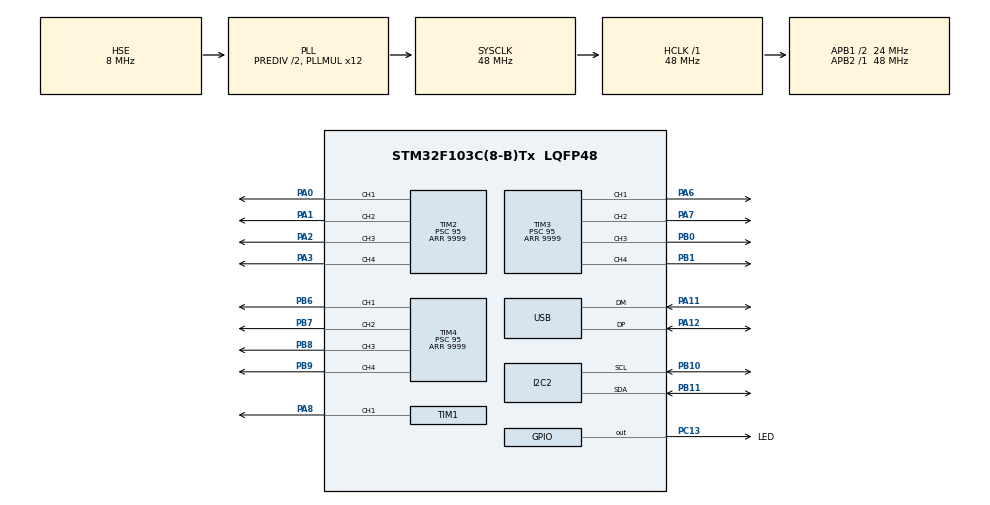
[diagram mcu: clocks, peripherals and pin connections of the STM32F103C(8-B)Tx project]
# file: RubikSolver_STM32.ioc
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Mcu.Family=STM32F1
Mcu.Name=STM32F103C(8-B)Tx
Mcu.Package=LQFP48
NVIC.PriorityGroup=NVIC_PRIORITYGROUP_4
NVIC.TIM2_IRQn=true\:0\:0\:false\:false\:true\:true\:true\:true
NVIC.TIM3_IRQn=true\:0\:0\:false\:false\:true\:true\:true\:true
NVIC.TIM4_IRQn=true\:0\:0\:false\:false\:true\:true\:true\:true
NVIC.USB_HP_CAN1_TX_IRQn=true\:0\:0\:false\:false\:true\:true\:true\:true
NVIC.USB_LP_CAN1_RX0_IRQn=true\:0\:0\:false\:false\:true\:true\:true\:true
PA0-WKUP.Signal=S_TIM2_CH1_ETR
PA1.Signal=S_TIM2_CH2
PA11.Mode=Device
PA11.Signal=USB_DM
PA12.Mode=Device
PA12.Signal=USB_DP
PA13.Mode=Serial_Wire
PA13.Signal=SYS_JTMS-SWDIO
PA14.Mode=Serial_Wire
PA14.Signal=SYS_JTCK-SWCLK
PA2.Signal=S_TIM2_CH3
PA3.Signal=S_TIM2_CH4
PA6.Signal=S_TIM3_CH1
PA7.Signal=S_TIM3_CH2
PA8.Signal=S_TIM1_CH1
PB0.Signal=S_TIM3_CH3
PB1.Signal=S_TIM3_CH4
PB10.Mode=I2C
PB10.Signal=I2C2_SCL
PB11.Mode=I2C
PB11.Signal=I2C2_SDA
PB6.Signal=S_TIM4_CH1
PB7.Signal=S_TIM4_CH2
PB8.Signal=S_TIM4_CH3
PB9.Signal=S_TIM4_CH4
PC13-TAMPER-RTC.GPIO_Label=LED
PC13-TAMPER-RTC.Signal=GPIO_Output
PD0-OSC_IN.Mode=HSE-External-Oscillator
PD0-OSC_IN.Signal=RCC_OSC_IN
PD1-OSC_OUT.Mode=HSE-External-Oscillator
PD1-OSC_OUT.Signal=RCC_OSC_OUT
ProjectManager.HeapSize=0x200
ProjectManager.StackSize=0x400
ProjectManager.TargetToolchain=STM32CubeIDE
RCC.AHBFreq_Value=48000000
RCC.APB1CLKDivider=RCC_HCLK_DIV2
RCC.APB1Freq_Value=24000000
RCC.APB1TimFreq_Value=48000000
RCC.APB2Freq_Value=48000000
RCC.APB2TimFreq_Value=48000000
RCC.HCLKFreq_Value=48000000
RCC.HSEDivPLL=RCC_HSE_PREDIV_DIV2
RCC.PLLMUL=RCC_PLL_MUL12
RCC.PLLSourceVirtual=RCC_PLLSOURCE_HSE
RCC.SYSCLKFreq_VALUE=48000000
RCC.SYSCLKSource=RCC_SYSCLKSOURCE_PLLCLK
RCC.USBFreq_Value=48000000
SH.S_TIM1_CH1.0=TIM1_CH1,PWM Generation1 CH1
SH.S_TIM2_CH1_ETR.0=TIM2_CH1,PWM Generation1 CH1
SH.S_TIM2_CH2.0=TIM2_CH2,PWM Generation2 CH2
SH.S_TIM2_CH3.0=TIM2_CH3,PWM Generation3 CH3
SH.S_TIM2_CH4.0=TIM2_CH4,PWM Generation4 CH4
SH.S_TIM3_CH1.0=TIM3_CH1,PWM Generation1 CH1
SH.S_TIM3_CH2.0=TIM3_CH2,PWM Generation2 CH2
SH.S_TIM3_CH3.0=TIM3_CH3,PWM Generation3 CH3
SH.S_TIM3_CH4.0=TIM3_CH4,PWM Generation4 CH4
SH.S_TIM4_CH1.0=TIM4_CH1,PWM Generation1 CH1
SH.S_TIM4_CH2.0=TIM4_CH2,PWM Generation2 CH2
SH.S_TIM4_CH3.0=TIM4_CH3,PWM Generation3 CH3
SH.S_TIM4_CH4.0=TIM4_CH4,PWM Generation4 CH4
TIM1.Channel-PWM\ Generation1\ CH1=TIM_CHANNEL_1
TIM1.Period=1000
TIM2.Channel-PWM\ Generation1\ CH1=TIM_CHANNEL_1
TIM2.Channel-PWM\ Generation2\ CH2=TIM_CHANNEL_2
TIM2.Channel-PWM\ Generation3\ CH3=TIM_CHANNEL_3
TIM2.Channel-PWM\ Generation4\ CH4=TIM_CHANNEL_4
TIM2.Period=9999
TIM2.Prescaler=95
TIM3.Channel-PWM\ Generation1\ CH1=TIM_CHANNEL_1
TIM3.Channel-PWM\ Generation2\ CH2=TIM_CHANNEL_2
TIM3.Channel-PWM\ Generation3\ CH3=TIM_CHANNEL_3
TIM3.Channel-PWM\ Generation4\ CH4=TIM_CHANNEL_4
TIM3.Period=9999
TIM3.Prescaler=95
TIM4.Channel-PWM\ Generation1\ CH1=TIM_CHANNEL_1
TIM4.Channel-PWM\ Generation2\ CH2=TIM_CHANNEL_2
TIM4.Channel-PWM\ Generation3\ CH3=TIM_CHANNEL_3
TIM4.Channel-PWM\ Generation4\ CH4=TIM_CHANNEL_4
TIM4.Period=9999
TIM4.Prescaler=95
USB_DEVICE.APP_TX_DATA_SIZE=1024
USB_DEVICE.CLASS_NAME_FS=CDC
USB_DEVICE.VirtualMode=Cdc
USB_DEVICE.VirtualModeFS=Cdc_FS
VP_TIM1_VS_ClockSourceINT.Mode=Internal
VP_TIM2_VS_ClockSourceINT.Mode=Internal
VP_TIM3_VS_ClockSourceINT.Mode=Internal
VP_TIM4_VS_ClockSourceINT.Mode=Internal
VP_USB_DEVICE_VS_USB_DEVICE_CDC_FS.Mode=CDC_FS
board=custom

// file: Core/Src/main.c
/* USER CODE BEGIN Header */
/**
  ******************************************************************************
  * @file           : main.c
  * @brief          : Main program body
  ******************************************************************************
  * @attention
  *
  * Copyright (c) 2023 STMicroelectronics.
  * All rights reserved.
  *
  * This software is licensed under terms that can be found in the LICENSE file
  * in the root directory of this software component.
  * If no LICENSE file comes with this software, it is provided AS-IS.
  *
  ******************************************************************************
  */
/* USER CODE END Header */
#include "main.h"
#include "usb_device.h"

/* USER CODE BEGIN Includes */
#include "global.h"
#include "usbd_cdc_if.h"
#include "color_reading.h"
#include "helper.h"
#include "servo.h"
#include "solver.h"

/* USER CODE END Includes */

/* USER CODE BEGIN PTD */
enum SystemState {
	IDLE,
	SETUP,
	SOLVE
} systemState = IDLE;

enum SystemMode {
	AUTO,
	MANUAL
} systemMode = MANUAL;
/* USER CODE END PTD */

I2C_HandleTypeDef hi2c2;

TIM_HandleTypeDef htim1;
TIM_HandleTypeDef htim2;
TIM_HandleTypeDef htim3;
TIM_HandleTypeDef htim4;

/* USER CODE BEGIN PV */
uint8_t usb_buf[200];
uint8_t usb_len = 0;
uint8_t usb_received = 0;

/* USER CODE END PV */

void SystemClock_Config(void);
static void MX_GPIO_Init(void);
static void MX_TIM2_Init(void);
static void MX_I2C2_Init(void);
static void MX_TIM3_Init(void);
static void MX_TIM4_Init(void);
static void MX_TIM1_Init(void);
/* USER CODE BEGIN PFP */
void pwmsInit();
/* USER CODE END PFP */

int main(void)
{

  /* MCU Configuration--------------------------------------------------------*/

  /* Reset of all peripherals, Initializes the Flash interface and the Systick. */
  HAL_Init();

  /* Configure the system clock */
  SystemClock_Config();

  /* Initialize all configured peripherals */
  MX_GPIO_Init();
  MX_TIM2_Init();
  MX_USB_DEVICE_Init();
  MX_I2C2_Init();
  MX_TIM3_Init();
  MX_TIM4_Init();
  MX_TIM1_Init();

  /* Infinite loop */
  /* USER CODE BEGIN WHILE */
  pwmsInit();
  robotInit();
  colorSensorInit();
  robotBoot();

  // Waiting user for select mode
  while (usb_received == 0);
  usb_received = 0;
  if (usb_buf[0] == 0)
  {
	  systemMode = MANUAL;
  }else
  {
	  systemMode = AUTO;
  }

  while (1)
  {
	  if (systemMode == MANUAL)
	  {
		  switch (systemState)
		  {
		  case IDLE:
			  if (usb_received == 1)
			  {
				  if (dataEqual(usb_buf, 11, "color_setup"))
				  {
					  systemState = SETUP;
					  usb_received = 0;
				  }else if (dataEqual(usb_buf, 11, "rubik_solve"))
				  {
					  systemState = SOLVE;
					  usb_received = 0;
				  }
			  }
			  break;
		  case SETUP:
			  manualColorSetup();
			  systemState = IDLE;
			  break;
		  case SOLVE:
			  manualRubikSolve();
			  systemState = IDLE;
			  break;
		  }
	  }else
	  {
		  switch (systemState)
		  {
		  case IDLE:
			  if (usb_received == 1)
			  {
				  if (dataEqual(usb_buf, 11, "color_setup"))
				  {
					  systemState = SETUP;
					  usb_received = 0;
				  }else if (dataEqual(usb_buf, 11, "rubik_solve"))
				  {
					  systemState = SOLVE;
					  usb_received = 0;
				  }
			  }
			  break;
		  case SETUP:
			  autoColorSetup();
			  systemState = IDLE;
			  break;
		  case SOLVE:
			  autoRubikSolve();
			  systemState = IDLE;
			  break;
		  }
	  }
    /* USER CODE END WHILE */

  }
}

void SystemClock_Config(void)
{
  RCC_OscInitTypeDef RCC_OscInitStruct = {0};
  RCC_ClkInitTypeDef RCC_ClkInitStruct = {0};
  RCC_PeriphCLKInitTypeDef PeriphClkInit = {0};

  /** Initializes the RCC Oscillators according to the specified parameters
  * in the RCC_OscInitTypeDef structure.
  */
  RCC_OscInitStruct.OscillatorType = RCC_OSCILLATORTYPE_HSE;
  RCC_OscInitStruct.HSEState = RCC_HSE_ON;
  RCC_OscInitStruct.HSEPredivValue = RCC_HSE_PREDIV_DIV2;
  RCC_OscInitStruct.HSIState = RCC_HSI_ON;
  RCC_OscInitStruct.PLL.PLLState = RCC_PLL_ON;
  RCC_OscInitStruct.PLL.PLLSource = RCC_PLLSOURCE_HSE;
  RCC_OscInitStruct.PLL.PLLMUL = RCC_PLL_MUL12;
  if (HAL_RCC_OscConfig(&RCC_OscInitStruct) != HAL_OK)
  {
    Error_Handler();
  }

  /** Initializes the CPU, AHB and APB buses clocks
  */
  RCC_ClkInitStruct.ClockType = RCC_CLOCKTYPE_HCLK|RCC_CLOCKTYPE_SYSCLK
                              |RCC_CLOCKTYPE_PCLK1|RCC_CLOCKTYPE_PCLK2;
  RCC_ClkInitStruct.SYSCLKSource = RCC_SYSCLKSOURCE_PLLCLK;
  RCC_ClkInitStruct.AHBCLKDivider = RCC_SYSCLK_DIV1;
  RCC_ClkInitStruct.APB1CLKDivider = RCC_HCLK_DIV2;
  RCC_ClkInitStruct.APB2CLKDivider = RCC_HCLK_DIV1;

  if (HAL_RCC_ClockConfig(&RCC_ClkInitStruct, FLASH_LATENCY_1) != HAL_OK)
  {
    Error_Handler();
  }
  PeriphClkInit.PeriphClockSelection = RCC_PERIPHCLK_USB;
  PeriphClkInit.UsbClockSelection = RCC_USBCLKSOURCE_PLL;
  if (HAL_RCCEx_PeriphCLKConfig(&PeriphClkInit) != HAL_OK)
  {
    Error_Handler();
  }
}

static void MX_I2C2_Init(void)
{

  hi2c2.Instance = I2C2;
  hi2c2.Init.ClockSpeed = 100000;
  hi2c2.Init.DutyCycle = I2C_DUTYCYCLE_2;
  hi2c2.Init.OwnAddress1 = 0;
  hi2c2.Init.AddressingMode = I2C_ADDRESSINGMODE_7BIT;
  hi2c2.Init.DualAddressMode = I2C_DUALADDRESS_DISABLE;
  hi2c2.Init.OwnAddress2 = 0;
  hi2c2.Init.GeneralCallMode = I2C_GENERALCALL_DISABLE;
  hi2c2.Init.NoStretchMode = I2C_NOSTRETCH_DISABLE;
  if (HAL_I2C_Init(&hi2c2) != HAL_OK)
  {
    Error_Handler();
  }

}

static void MX_TIM1_Init(void)
{

  TIM_ClockConfigTypeDef sClockSourceConfig = {0};
  TIM_MasterConfigTypeDef sMasterConfig = {0};
  TIM_OC_InitTypeDef sConfigOC = {0};
  TIM_BreakDeadTimeConfigTypeDef sBreakDeadTimeConfig = {0};

  htim1.Instance = TIM1;
  htim1.Init.Prescaler = 0;
  htim1.Init.CounterMode = TIM_COUNTERMODE_UP;
  htim1.Init.Period = 1000;
  htim1.Init.ClockDivision = TIM_CLOCKDIVISION_DIV1;
  htim1.Init.RepetitionCounter = 0;
  htim1.Init.AutoReloadPreload = TIM_AUTORELOAD_PRELOAD_DISABLE;
  if (HAL_TIM_Base_Init(&htim1) != HAL_OK)
  {
    Error_Handler();
  }
  sClockSourceConfig.ClockSource = TIM_CLOCKSOURCE_INTERNAL;
  if (HAL_TIM_ConfigClockSource(&htim1, &sClockSourceConfig) != HAL_OK)
  {
    Error_Handler();
  }
  if (HAL_TIM_PWM_Init(&htim1) != HAL_OK)
  {
    Error_Handler();
  }
  sMasterConfig.MasterOutputTrigger = TIM_TRGO_RESET;
  sMasterConfig.MasterSlaveMode = TIM_MASTERSLAVEMODE_DISABLE;
  if (HAL_TIMEx_MasterConfigSynchronization(&htim1, &sMasterConfig) != HAL_OK)
  {
    Error_Handler();
  }
  sConfigOC.OCMode = TIM_OCMODE_PWM1;
  sConfigOC.Pulse = 0;
  sConfigOC.OCPolarity = TIM_OCPOLARITY_HIGH;
  sConfigOC.OCNPolarity = TIM_OCNPOLARITY_HIGH;
  sConfigOC.OCFastMode = TIM_OCFAST_DISABLE;
  sConfigOC.OCIdleState = TIM_OCIDLESTATE_RESET;
  sConfigOC.OCNIdleState = TIM_OCNIDLESTATE_RESET;
  if (HAL_TIM_PWM_ConfigChannel(&htim1, &sConfigOC, TIM_CHANNEL_1) != HAL_OK)
  {
    Error_Handler();
  }
  sBreakDeadTimeConfig.OffStateRunMode = TIM_OSSR_DISABLE;
  sBreakDeadTimeConfig.OffStateIDLEMode = TIM_OSSI_DISABLE;
  sBreakDeadTimeConfig.LockLevel = TIM_LOCKLEVEL_OFF;
  sBreakDeadTimeConfig.DeadTime = 0;
  sBreakDeadTimeConfig.BreakState = TIM_BREAK_DISABLE;
  sBreakDeadTimeConfig.BreakPolarity = TIM_BREAKPOLARITY_HIGH;
  sBreakDeadTimeConfig.AutomaticOutput = TIM_AUTOMATICOUTPUT_DISABLE;
  if (HAL_TIMEx_ConfigBreakDeadTime(&htim1, &sBreakDeadTimeConfig) != HAL_OK)
  {
    Error_Handler();
  }
  HAL_TIM_MspPostInit(&htim1);

}

static void MX_TIM2_Init(void)
{

  TIM_ClockConfigTypeDef sClockSourceConfig = {0};
  TIM_MasterConfigTypeDef sMasterConfig = {0};
  TIM_OC_InitTypeDef sConfigOC = {0};

  htim2.Instance = TIM2;
  htim2.Init.Prescaler = 95;
  htim2.Init.CounterMode = TIM_COUNTERMODE_UP;
  htim2.Init.Period = 9999;
  htim2.Init.ClockDivision = TIM_CLOCKDIVISION_DIV1;
  htim2.Init.AutoReloadPreload = TIM_AUTORELOAD_PRELOAD_DISABLE;
  if (HAL_TIM_Base_Init(&htim2) != HAL_OK)
  {
    Error_Handler();
  }
  sClockSourceConfig.ClockSource = TIM_CLOCKSOURCE_INTERNAL;
  if (HAL_TIM_ConfigClockSource(&htim2, &sClockSourceConfig) != HAL_OK)
  {
    Error_Handler();
  }
  if (HAL_TIM_PWM_Init(&htim2) != HAL_OK)
  {
    Error_Handler();
  }
  sMasterConfig.MasterOutputTrigger = TIM_TRGO_RESET;
  sMasterConfig.MasterSlaveMode = TIM_MASTERSLAVEMODE_DISABLE;
  if (HAL_TIMEx_MasterConfigSynchronization(&htim2, &sMasterConfig) != HAL_OK)
  {
    Error_Handler();
  }
  sConfigOC.OCMode = TIM_OCMODE_PWM1;
  sConfigOC.Pulse = 0;
  sConfigOC.OCPolarity = TIM_OCPOLARITY_HIGH;
  sConfigOC.OCFastMode = TIM_OCFAST_DISABLE;
  if (HAL_TIM_PWM_ConfigChannel(&htim2, &sConfigOC, TIM_CHANNEL_1) != HAL_OK)
  {
    Error_Handler();
  }
  if (HAL_TIM_PWM_ConfigChannel(&htim2, &sConfigOC, TIM_CHANNEL_2) != HAL_OK)
  {
    Error_Handler();
  }
  if (HAL_TIM_PWM_ConfigChannel(&htim2, &sConfigOC, TIM_CHANNEL_3) != HAL_OK)
  {
    Error_Handler();
  }
  if (HAL_TIM_PWM_ConfigChannel(&htim2, &sConfigOC, TIM_CHANNEL_4) != HAL_OK)
  {
    Error_Handler();
  }
  HAL_TIM_MspPostInit(&htim2);

}

static void MX_TIM3_Init(void)
{

  TIM_ClockConfigTypeDef sClockSourceConfig = {0};
  TIM_MasterConfigTypeDef sMasterConfig = {0};
  TIM_OC_InitTypeDef sConfigOC = {0};

  htim3.Instance = TIM3;
  htim3.Init.Prescaler = 95;
  htim3.Init.CounterMode = TIM_COUNTERMODE_UP;
  htim3.Init.Period = 9999;
  htim3.Init.ClockDivision = TIM_CLOCKDIVISION_DIV1;
  htim3.Init.AutoReloadPreload = TIM_AUTORELOAD_PRELOAD_DISABLE;
  if (HAL_TIM_Base_Init(&htim3) != HAL_OK)
  {
    Error_Handler();
  }
  sClockSourceConfig.ClockSource = TIM_CLOCKSOURCE_INTERNAL;
  if (HAL_TIM_ConfigClockSource(&htim3, &sClockSourceConfig) != HAL_OK)
  {
    Error_Handler();
  }
  if (HAL_TIM_PWM_Init(&htim3) != HAL_OK)
  {
    Error_Handler();
  }
  sMasterConfig.MasterOutputTrigger = TIM_TRGO_RESET;
  sMasterConfig.MasterSlaveMode = TIM_MASTERSLAVEMODE_DISABLE;
  if (HAL_TIMEx_MasterConfigSynchronization(&htim3, &sMasterConfig) != HAL_OK)
  {
    Error_Handler();
  }
  sConfigOC.OCMode = TIM_OCMODE_PWM1;
  sConfigOC.Pulse = 0;
  sConfigOC.OCPolarity = TIM_OCPOLARITY_HIGH;
  sConfigOC.OCFastMode = TIM_OCFAST_DISABLE;
  if (HAL_TIM_PWM_ConfigChannel(&htim3, &sConfigOC, TIM_CHANNEL_1) != HAL_OK)
  {
    Error_Handler();
  }
  if (HAL_TIM_PWM_ConfigChannel(&htim3, &sConfigOC, TIM_CHANNEL_2) != HAL_OK)
  {
    Error_Handler();
  }
  if (HAL_TIM_PWM_ConfigChannel(&htim3, &sConfigOC, TIM_CHANNEL_3) != HAL_OK)
  {
    Error_Handler();
  }
  if (HAL_TIM_PWM_ConfigChannel(&htim3, &sConfigOC, TIM_CHANNEL_4) != HAL_OK)
  {
    Error_Handler();
  }
  HAL_TIM_MspPostInit(&htim3);

}

static void MX_TIM4_Init(void)
{

  TIM_ClockConfigTypeDef sClockSourceConfig = {0};
  TIM_MasterConfigTypeDef sMasterConfig = {0};
  TIM_OC_InitTypeDef sConfigOC = {0};

  htim4.Instance = TIM4;
  htim4.Init.Prescaler = 95;
  htim4.Init.CounterMode = TIM_COUNTERMODE_UP;
  htim4.Init.Period = 9999;
  htim4.Init.ClockDivision = TIM_CLOCKDIVISION_DIV1;
  htim4.Init.AutoReloadPreload = TIM_AUTORELOAD_PRELOAD_DISABLE;
  if (HAL_TIM_Base_Init(&htim4) != HAL_OK)
  {
    Error_Handler();
  }
  sClockSourceConfig.ClockSource = TIM_CLOCKSOURCE_INTERNAL;
  if (HAL_TIM_ConfigClockSource(&htim4, &sClockSourceConfig) != HAL_OK)
  {
    Error_Handler();
  }
  if (HAL_TIM_PWM_Init(&htim4) != HAL_OK)
  {
    Error_Handler();
  }
  sMasterConfig.MasterOutputTrigger = TIM_TRGO_RESET;
  sMasterConfig.MasterSlaveMode = TIM_MASTERSLAVEMODE_DISABLE;
  if (HAL_TIMEx_MasterConfigSynchronization(&htim4, &sMasterConfig) != HAL_OK)
  {
    Error_Handler();
  }
  sConfigOC.OCMode = TIM_OCMODE_PWM1;
  sConfigOC.Pulse = 0;
  sConfigOC.OCPolarity = TIM_OCPOLARITY_HIGH;
  sConfigOC.OCFastMode = TIM_OCFAST_DISABLE;
  if (HAL_TIM_PWM_ConfigChannel(&htim4, &sConfigOC, TIM_CHANNEL_1) != HAL_OK)
  {
    Error_Handler();
  }
  if (HAL_TIM_PWM_ConfigChannel(&htim4, &sConfigOC, TIM_CHANNEL_2) != HAL_OK)
  {
    Error_Handler();
  }
  if (HAL_TIM_PWM_ConfigChannel(&htim4, &sConfigOC, TIM_CHANNEL_3) != HAL_OK)
  {
    Error_Handler();
  }
  if (HAL_TIM_PWM_ConfigChannel(&htim4, &sConfigOC, TIM_CHANNEL_4) != HAL_OK)
  {
    Error_Handler();
  }
  HAL_TIM_MspPostInit(&htim4);

}

static void MX_GPIO_Init(void)
{
  GPIO_InitTypeDef GPIO_InitStruct = {0};

  /* GPIO Ports Clock Enable */
  __HAL_RCC_GPIOC_CLK_ENABLE();
  __HAL_RCC_GPIOD_CLK_ENABLE();
  __HAL_RCC_GPIOA_CLK_ENABLE();
  __HAL_RCC_GPIOB_CLK_ENABLE();

  /*Configure GPIO pin Output Level */
  HAL_GPIO_WritePin(LED_GPIO_Port, LED_Pin, GPIO_PIN_RESET);

  /*Configure GPIO pin : LED_Pin */
  GPIO_InitStruct.Pin = LED_Pin;
  GPIO_InitStruct.Mode = GPIO_MODE_OUTPUT_PP;
  GPIO_InitStruct.Pull = GPIO_NOPULL;
  GPIO_InitStruct.Speed = GPIO_SPEED_FREQ_LOW;
  HAL_GPIO_Init(LED_GPIO_Port, &GPIO_InitStruct);

}

/* USER CODE BEGIN 4 */

void pwmsInit()
{
	HAL_TIM_PWM_Start(&htim2, TIM_CHANNEL_1);
	HAL_TIM_PWM_Start(&htim2, TIM_CHANNEL_2);
	HAL_TIM_PWM_Start(&htim2, TIM_CHANNEL_3);
	HAL_TIM_PWM_Start(&htim2, TIM_CHANNEL_4);

	HAL_TIM_PWM_Start(&htim3, TIM_CHANNEL_1);
	HAL_TIM_PWM_Start(&htim3, TIM_CHANNEL_2);
	HAL_TIM_PWM_Start(&htim3, TIM_CHANNEL_3);
	HAL_TIM_PWM_Start(&htim3, TIM_CHANNEL_4);

	HAL_TIM_PWM_Start(&htim4, TIM_CHANNEL_1);
	HAL_TIM_PWM_Start(&htim4, TIM_CHANNEL_2);
	HAL_TIM_PWM_Start(&htim4, TIM_CHANNEL_3);
	HAL_TIM_PWM_Start(&htim4, TIM_CHANNEL_4);
}
/* USER CODE END 4 */

void Error_Handler(void)
{
  __disable_irq();
  while (1)
  {
  }
}
